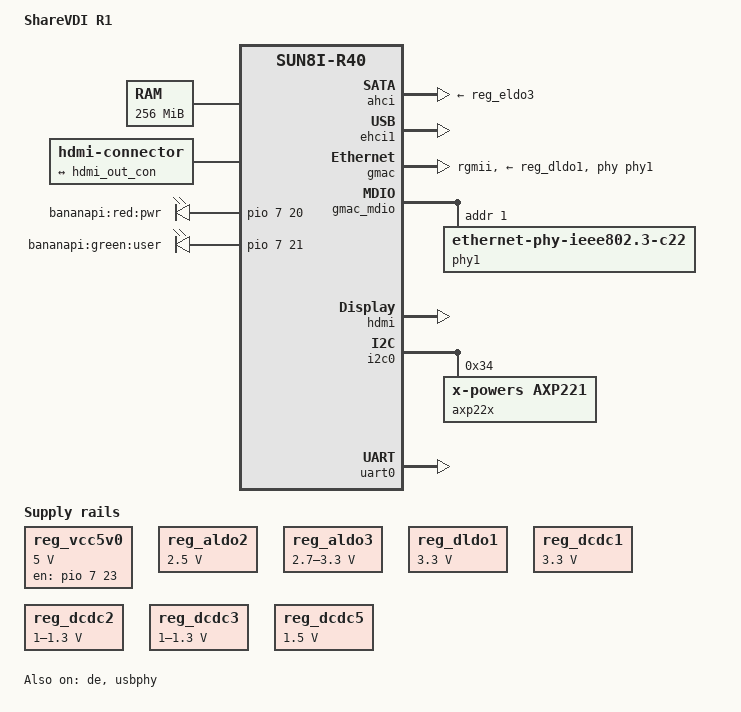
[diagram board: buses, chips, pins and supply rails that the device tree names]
/*
 * Copyright (C) 2017 Icenowy Zheng <icenowy@aosc.io>
 *
 * This file is dual-licensed: you can use it either under the terms
 * of the GPL or the X11 license, at your option. Note that this dual
 * licensing only applies to this file, and not this project as a
 * whole.
 *
 *  a) This file is free software; you can redistribute it and/or
 *     modify it under the terms of the GNU General Public License as
 *     published by the Free Software Foundation; either version 2 of the
 *     License, or (at your option) any later version.
 *
 *     This file is distributed in the hope that it will be useful,
 *     but WITHOUT ANY WARRANTY; without even the implied warranty of
 *     MERCHANTABILITY or FITNESS FOR A PARTICULAR PURPOSE.  See the
 *     GNU General Public License for more details.
 *
 * Or, alternatively,
 *
 *  b) Permission is hereby granted, free of charge, to any person
 *     obtaining a copy of this software and associated documentation
 *     files (the "Software"), to deal in the Software without
 *     restriction, including without limitation the rights to use,
 *     copy, modify, merge, publish, distribute, sublicense, and/or
 *     sell copies of the Software, and to permit persons to whom the
 *     Software is furnished to do so, subject to the following
 *     conditions:
 *
 *     The above copyright notice and this permission notice shall be
 *     included in all copies or substantial portions of the Software.
 *
 *     THE SOFTWARE IS PROVIDED "AS IS", WITHOUT WARRANTY OF ANY KIND,
 *     EXPRESS OR IMPLIED, INCLUDING BUT NOT LIMITED TO THE WARRANTIES
 *     OF MERCHANTABILITY, FITNESS FOR A PARTICULAR PURPOSE AND
 *     NONINFRINGEMENT. IN NO EVENT SHALL THE AUTHORS OR COPYRIGHT
 *     HOLDERS BE LIABLE FOR ANY CLAIM, DAMAGES OR OTHER LIABILITY,
 *     WHETHER IN AN ACTION OF CONTRACT, TORT OR OTHERWISE, ARISING
 *     FROM, OUT OF OR IN CONNECTION WITH THE SOFTWARE OR THE USE OR
 *     OTHER DEALINGS IN THE SOFTWARE.
 */

/dts-v1/;
#include "sun8i-r40.dtsi"
#include "sun8i-r40-cpu-opp.dtsi"

#include <dt-bindings/gpio/gpio.h>

// command line like https://gist.github.com/apritzel/c128b29c601d180d32d68ee4c9ed8f47

/ {
	model = "ShareVDI R1";
	compatible = "sinovoip,bpi-m2-berry", "allwinner,sun8i-r40";

	aliases {
		ethernet0 = &gmac;
		serial0 = &uart0;
	};

  memory@40000000 {
    device_type = "memory";
    reg = <0x40000000 0x10000000>;
  };

	chosen {
		stdout-path = "serial0:115200n8";
	};

	connector {
		compatible = "hdmi-connector";
		type = "a";

		port {
			hdmi_con_in: endpoint {
				remote-endpoint = <&hdmi_out_con>;
			};
		};
	};

	leds {
		compatible = "gpio-leds";

		pwr-led {
			label = "bananapi:red:pwr";
			gpios = <&pio 7 20 GPIO_ACTIVE_HIGH>;
			default-state = "on";
		};

		user-led {
			label = "bananapi:green:user";
			gpios = <&pio 7 21 GPIO_ACTIVE_HIGH>;
		};
	};

	reg_vcc5v0: vcc5v0 {
		compatible = "regulator-fixed";
		regulator-name = "vcc5v0";
		regulator-min-microvolt = <5000000>;
		regulator-max-microvolt = <5000000>;
		gpio = <&pio 7 23 GPIO_ACTIVE_HIGH>; /* PH23 */
		enable-active-high;
	};
};

&ahci {
	ahci-supply = <&reg_dldo4>;
	phy-supply = <&reg_eldo3>;
	status = "okay";
};

&cpu0 {
	cpu-supply = <&reg_dcdc2>;
};

&de {
	status = "okay";
};

&ehci1 {
  // FIXME: This is from BananaPi Berry
	/* Terminus Tech FE 1.1s 4-port USB 2.0 hub here */
	status = "okay";
};

&gmac {
	status = "okay";
	pinctrl-names = "default";
	pinctrl-0 = <&gmac_rgmii_pins>;
	phy-handle = <&phy1>;
	phy-mode = "rgmii";
	phy-supply = <&reg_dldo1>;
  mac-address = [ 46 43 4B 45 46 49 ];
};

&gmac_mdio {
	status = "okay";

	phy1: ethernet-phy@1 {
		compatible = "ethernet-phy-ieee802.3-c22";
		reg = <1>;
	};
};

&hdmi {
	status = "okay";
};

&hdmi_out {
	hdmi_out_con: endpoint {
		remote-endpoint = <&hdmi_con_in>;
	};
};

&i2c0 {
	status = "okay";

	axp22x: pmic@34 {
		compatible = "x-powers,axp221";
		reg = <0x34>;
		interrupt-parent = <&nmi_intc>;
		interrupts = <0 IRQ_TYPE_LEVEL_LOW>;
	};
};

#include "axp22x.dtsi"

&pio {
	pinctrl-names = "default";
	pinctrl-0 = <&clk_out_a_pin>;
	vcc-pa-supply = <&reg_aldo2>;
	vcc-pc-supply = <&reg_dcdc1>;
	vcc-pd-supply = <&reg_dcdc1>;
	vcc-pe-supply = <&reg_eldo1>;
	vcc-pf-supply = <&reg_dcdc1>;
	vcc-pg-supply = <&reg_dldo1>;
};

&reg_aldo2 {
	regulator-min-microvolt = <2500000>;
	regulator-max-microvolt = <2500000>;
	regulator-name = "vcc-pa";
};

&reg_aldo3 {
	regulator-always-on;
	regulator-min-microvolt = <2700000>;
	regulator-max-microvolt = <3300000>;
	regulator-name = "avcc";
};

&reg_dldo1 {
	regulator-min-microvolt = <3300000>;
	regulator-max-microvolt = <3300000>;
	regulator-name = "vcc-gmac-phy";
};

&reg_dcdc1 {
	regulator-always-on;
	regulator-min-microvolt = <3300000>;
	regulator-max-microvolt = <3300000>;
	regulator-name = "vcc-3v3";
};

&reg_dcdc2 {
	regulator-always-on;
	regulator-min-microvolt = <1000000>;
	regulator-max-microvolt = <1300000>;
	regulator-name = "vdd-cpu";
};

&reg_dcdc3 {
	regulator-always-on;
	regulator-min-microvolt = <1000000>;
	regulator-max-microvolt = <1300000>;
	regulator-name = "vdd-sys";
};

&reg_dcdc5 {
	regulator-always-on;
	regulator-min-microvolt = <1500000>;
	regulator-max-microvolt = <1500000>;
	regulator-name = "vcc-dram";
};

&uart0 {
	pinctrl-names = "default";
	pinctrl-0 = <&uart0_pb_pins>;
	status = "okay";
};

&usbphy {
	usb1_vbus-supply = <&reg_vcc5v0>;
	status = "okay";
};
